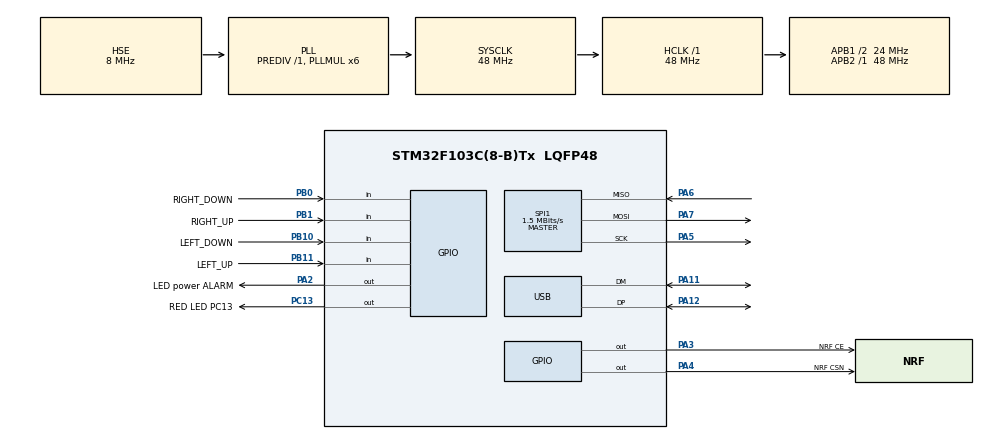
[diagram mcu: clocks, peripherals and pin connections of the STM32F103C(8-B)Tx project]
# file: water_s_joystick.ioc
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Mcu.Family=STM32F1
Mcu.Name=STM32F103C(8-B)Tx
Mcu.Package=LQFP48
NVIC.PriorityGroup=NVIC_PRIORITYGROUP_4
NVIC.USB_LP_CAN1_RX0_IRQn=true\:0\:0\:false\:false\:true\:false
PA11.Mode=Device
PA11.Signal=USB_DM
PA12.Mode=Device
PA12.Signal=USB_DP
PA13.Mode=Serial_Wire
PA13.Signal=SYS_JTMS-SWDIO
PA14.Mode=Serial_Wire
PA14.Signal=SYS_JTCK-SWCLK
PA2.GPIO_Label=LED power ALARM
PA2.Signal=GPIO_Output
PA3.GPIO_Label=NRF CE
PA3.GPIO_Speed=GPIO_SPEED_FREQ_HIGH
PA3.Signal=GPIO_Output
PA4.GPIO_Label=NRF CSN
PA4.GPIO_Speed=GPIO_SPEED_FREQ_HIGH
PA4.Signal=GPIO_Output
PA5.Mode=Full_Duplex_Master
PA5.Signal=SPI1_SCK
PA6.Mode=Full_Duplex_Master
PA6.Signal=SPI1_MISO
PA7.Mode=Full_Duplex_Master
PA7.Signal=SPI1_MOSI
PB0.GPIO_Label=RIGHT_DOWN
PB0.GPIO_PuPd=GPIO_PULLUP
PB0.Signal=GPIO_Input
PB1.GPIO_Label=RIGHT_UP
PB1.GPIO_PuPd=GPIO_PULLUP
PB1.Signal=GPIO_Input
PB10.GPIO_Label=LEFT_DOWN
PB10.GPIO_PuPd=GPIO_PULLUP
PB10.Signal=GPIO_Input
PB11.GPIO_Label=LEFT_UP
PB11.GPIO_PuPd=GPIO_PULLUP
PB11.Signal=GPIO_Input
PC13-TAMPER-RTC.GPIO_Label=RED LED PC13
PC13-TAMPER-RTC.Signal=GPIO_Output
PD0-OSC_IN.Mode=HSE-External-Oscillator
PD0-OSC_IN.Signal=RCC_OSC_IN
PD1-OSC_OUT.Mode=HSE-External-Oscillator
PD1-OSC_OUT.Signal=RCC_OSC_OUT
ProjectManager.HeapSize=0x200
ProjectManager.StackSize=0x400
ProjectManager.TargetToolchain=SW4STM32
RCC.AHBFreq_Value=48000000
RCC.APB1CLKDivider=RCC_HCLK_DIV2
RCC.APB1Freq_Value=24000000
RCC.APB1TimFreq_Value=48000000
RCC.APB2Freq_Value=48000000
RCC.APB2TimFreq_Value=48000000
RCC.HCLKFreq_Value=48000000
RCC.PLLMUL=RCC_PLL_MUL6
RCC.RCC_MCOSource=RCC_MCO1SOURCE_PLLCLK
RCC.SYSCLKFreq_VALUE=48000000
RCC.SYSCLKSource=RCC_SYSCLKSOURCE_PLLCLK
RCC.USBFreq_Value=48000000
SPI1.BaudRatePrescaler=SPI_BAUDRATEPRESCALER_32
SPI1.CalculateBaudRate=1.5 MBits/s
SPI1.Direction=SPI_DIRECTION_2LINES
SPI1.Mode=SPI_MODE_MASTER
SPI1.VirtualType=VM_MASTER
USB_DEVICE.CLASS_NAME_FS=CDC
USB_DEVICE.VirtualMode=Cdc
USB_DEVICE.VirtualModeFS=Cdc_FS
VP_USB_DEVICE_VS_USB_DEVICE_CDC_FS.Mode=CDC_FS
board=water_s_joystick

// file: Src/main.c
/**
  ******************************************************************************
  * @file           : main.c
  * @brief          : Main program body
  ******************************************************************************
  * This notice applies to any and all portions of this file
  * that are not between comment pairs USER CODE BEGIN and
  * USER CODE END. Other portions of this file, whether
  * inserted by the user or by software development tools
  * are owned by their respective copyright owners.
  *
  * Copyright (c) 2019 STMicroelectronics International N.V.
  * All rights reserved.
  *
  * Redistribution and use in source and binary forms, with or without
  * modification, are permitted, provided that the following conditions are met:
  *
  * 1. Redistribution of source code must retain the above copyright notice,
  *    this list of conditions and the following disclaimer.
  * 2. Redistributions in binary form must reproduce the above copyright notice,
  *    this list of conditions and the following disclaimer in the documentation
  *    and/or other materials provided with the distribution.
  * 3. Neither the name of STMicroelectronics nor the names of other
  *    contributors to this software may be used to endorse or promote products
  *    derived from this software without specific written permission.
  * 4. This software, including modifications and/or derivative works of this
  *    software, must execute solely and exclusively on microcontroller or
  *    microprocessor devices manufactured by or for STMicroelectronics.
  * 5. Redistribution and use of this software other than as permitted under
  *    this license is void and will automatically terminate your rights under
  *    this license.
  *
  * THIS SOFTWARE IS PROVIDED BY STMICROELECTRONICS AND CONTRIBUTORS "AS IS"
  * AND ANY EXPRESS, IMPLIED OR STATUTORY WARRANTIES, INCLUDING, BUT NOT
  * LIMITED TO, THE IMPLIED WARRANTIES OF MERCHANTABILITY, FITNESS FOR A
  * PARTICULAR PURPOSE AND NON-INFRINGEMENT OF THIRD PARTY INTELLECTUAL PROPERTY
  * RIGHTS ARE DISCLAIMED TO THE FULLEST EXTENT PERMITTED BY LAW. IN NO EVENT
  * SHALL STMICROELECTRONICS OR CONTRIBUTORS BE LIABLE FOR ANY DIRECT, INDIRECT,
  * INCIDENTAL, SPECIAL, EXEMPLARY, OR CONSEQUENTIAL DAMAGES (INCLUDING, BUT NOT
  * LIMITED TO, PROCUREMENT OF SUBSTITUTE GOODS OR SERVICES; LOSS OF USE, DATA,
  * OR PROFITS; OR BUSINESS INTERRUPTION) HOWEVER CAUSED AND ON ANY THEORY OF
  * LIABILITY, WHETHER IN CONTRACT, STRICT LIABILITY, OR TORT (INCLUDING
  * NEGLIGENCE OR OTHERWISE) ARISING IN ANY WAY OUT OF THE USE OF THIS SOFTWARE,
  * EVEN IF ADVISED OF THE POSSIBILITY OF SUCH DAMAGE.
  *
  ******************************************************************************
  */
#include "main.h"
#include "stm32f1xx_hal.h"
#include "usb_device.h"

/* USER CODE BEGIN Includes */

#include "tm2_stm32_nrf24l01.h"

/* USER CODE END Includes */

SPI_HandleTypeDef hspi1;

/* USER CODE BEGIN PV */
/* Private variables ---------------------------------------------------------*/

NRF24L01_config_TypeDef nrf_tx_cfg;

uint8_t nrf_init_result;

/* USER CODE END PV */

void SystemClock_Config(void);
static void MX_GPIO_Init(void);
static void MX_SPI1_Init(void);

/* USER CODE BEGIN PFP */
/* Private function prototypes -----------------------------------------------*/

void int8_to_bin( int8_t x, int8_t *_buf );
void usb_receive_interrupt( uint8_t );
void usb_receive_bytes( uint8_t* Buf, uint32_t *Len );

/* USER CODE END PFP */

int main(void)
{
  /* USER CODE BEGIN 1 */

	  // for received data
	  //uint8_t dataIn[32];
	  uint8_t loop;
	  uint8_t text_to_show[ 100 ];

	  // NRF transmission status
	  TM_NRF24L01_Transmit_Status_t transmissionStatus;

  /* USER CODE END 1 */

  /* MCU Configuration----------------------------------------------------------*/

  /* Reset of all peripherals, Initializes the Flash interface and the Systick. */
  HAL_Init();

  /* Configure the system clock */
  SystemClock_Config();

  /* Initialize all configured peripherals */
  MX_GPIO_Init();
  MX_SPI1_Init();
  MX_USB_DEVICE_Init();
  /* USER CODE BEGIN 2 */

  uint8_t tmp_char;

  nrf_tx_cfg.CE_pin          = NRF_CE_Pin;
  nrf_tx_cfg.CE_port         = NRF_CE_GPIO_Port;
  nrf_tx_cfg.CSN_pin         = NRF_CSN_Pin;
  nrf_tx_cfg.CSN_port        = NRF_CSN_GPIO_Port;
  nrf_tx_cfg.SPI             = &hspi1;
  nrf_tx_cfg.radio_channel   = 15;
  nrf_tx_cfg.baud_rate       = TM_NRF24L01_DataRate_1M;
  nrf_tx_cfg.payload_len     = 32;
  nrf_tx_cfg.crc_len         = 2;
  nrf_tx_cfg.output_power    = TM_NRF24L01_OutputPower_0dBm;
  nrf_tx_cfg.rx_address[ 0 ] = 0xE7;
  nrf_tx_cfg.rx_address[ 1 ] = 0xE7;
  nrf_tx_cfg.rx_address[ 2 ] = 0xE7;
  nrf_tx_cfg.rx_address[ 3 ] = 0xE7;
  nrf_tx_cfg.rx_address[ 4 ] = 0xE7;
  nrf_tx_cfg.tx_address[ 0 ] = 0x7E;
  nrf_tx_cfg.tx_address[ 1 ] = 0x7E;
  nrf_tx_cfg.tx_address[ 2 ] = 0x7E;
  nrf_tx_cfg.tx_address[ 3 ] = 0x7E;
  nrf_tx_cfg.tx_address[ 4 ] = 0x7E;

  nrf_init_result = tm2_NRF24L01_Init( &nrf_tx_cfg );
  HAL_Delay( 2000 );
  tm2_NRF24L01_Clear_Interrupts( &nrf_tx_cfg );
  HAL_Delay( 100 );

  //turn off power alarm LED
  HAL_GPIO_WritePin( LED_power_ALARM_GPIO_Port, LED_power_ALARM_Pin, GPIO_PIN_SET );

  /* USER CODE END 2 */

  /* Infinite loop */
  /* USER CODE BEGIN WHILE */
  while (1)
  {
	  HAL_Delay( 25 );

	    if( tm2_NRF24L01_DataReady( &nrf_tx_cfg )) {
	    	HAL_GPIO_WritePin( RED_LED_PC13_GPIO_Port, RED_LED_PC13_Pin, GPIO_PIN_RESET );
	    	for( loop = 0; loop < 33; loop++ ) text_to_show[ loop ] = 0;
	    	tm2_NRF24L01_GetData( &nrf_tx_cfg, text_to_show );
	    	CDC_Transmit_FS( text_to_show, strlen( text_to_show ));
	    	HAL_Delay( 10 );
	    }
	    else {
	    	HAL_Delay( 25 );
	    }

	  HAL_GPIO_WritePin( RED_LED_PC13_GPIO_Port, RED_LED_PC13_Pin, GPIO_PIN_SET );
	  tmp_char = 0x01;
	  if( ! HAL_GPIO_ReadPin( RIGHT_UP_GPIO_Port, RIGHT_UP_Pin )) {
		  tmp_char |= 0x04;
		  HAL_GPIO_WritePin( RED_LED_PC13_GPIO_Port, RED_LED_PC13_Pin, GPIO_PIN_RESET );
	  }
	  if( ! HAL_GPIO_ReadPin( RIGHT_DOWN_GPIO_Port, RIGHT_DOWN_Pin )) {
		  tmp_char |= 0x02;
		  HAL_GPIO_WritePin( RED_LED_PC13_GPIO_Port, RED_LED_PC13_Pin, GPIO_PIN_RESET );
	  }
	  if( ! HAL_GPIO_ReadPin( LEFT_UP_GPIO_Port, LEFT_UP_Pin )) {
		  tmp_char |= 0x10;
		  HAL_GPIO_WritePin( RED_LED_PC13_GPIO_Port, RED_LED_PC13_Pin, GPIO_PIN_RESET );
	  }
	  if( ! HAL_GPIO_ReadPin( LEFT_DOWN_GPIO_Port, LEFT_DOWN_Pin )) {
		  tmp_char |= 0x08;
		  HAL_GPIO_WritePin( RED_LED_PC13_GPIO_Port, RED_LED_PC13_Pin, GPIO_PIN_RESET );
	  }
	  //int8_to_bin( tmp_char, text_to_show );
	  //text_to_show[ 8 ] = 13;
	  //text_to_show[ 9 ] = 10;
	  //if( tmp_char != 0 ) ; //CDC_Transmit_FS( text_to_show, 10 );
	  //HAL_Delay( 1 );
	  tm2_NRF24L01_Transmit( &nrf_tx_cfg, &tmp_char );
	  /* Wait for data to be sent */
	  do {
		/* Get transmission status */
		transmissionStatus = tm2_NRF24L01_GetTransmissionStatus( &nrf_tx_cfg );
	  } while( transmissionStatus == TM_NRF24L01_Transmit_Status_Sending );
	  HAL_Delay( 5 );
	  tm2_NRF24L01_PowerUpRx( &nrf_tx_cfg );

	  /* Check transmit status */
//		if (transmissionStatus == TM_NRF24L01_Transmit_Status_Ok) {
//			/* Transmit went OK */
//			text_to_show[ 0 ] = 'O';
//			text_to_show[ 1 ] = 'K';
//		} else if (transmissionStatus == TM_NRF24L01_Transmit_Status_Lost) {
//			/* Message was LOST */
//			text_to_show[ 0 ] = 'n';
//			text_to_show[ 1 ] = 'n';
//		} else {
//			/* This should never happen */
//
//		}
//		text_to_show[ 2 ] = ' ';
//		if( tmp_char != 0 ) CDC_Transmit_FS( text_to_show, 3 );
//		HAL_Delay( 1 );

  /* USER CODE END WHILE */

  }

}

void SystemClock_Config(void)
{

  RCC_OscInitTypeDef RCC_OscInitStruct;
  RCC_ClkInitTypeDef RCC_ClkInitStruct;
  RCC_PeriphCLKInitTypeDef PeriphClkInit;

    /**Initializes the CPU, AHB and APB busses clocks
    */
  RCC_OscInitStruct.OscillatorType = RCC_OSCILLATORTYPE_HSE;
  RCC_OscInitStruct.HSEState = RCC_HSE_ON;
  RCC_OscInitStruct.HSEPredivValue = RCC_HSE_PREDIV_DIV1;
  RCC_OscInitStruct.HSIState = RCC_HSI_ON;
  RCC_OscInitStruct.PLL.PLLState = RCC_PLL_ON;
  RCC_OscInitStruct.PLL.PLLSource = RCC_PLLSOURCE_HSE;
  RCC_OscInitStruct.PLL.PLLMUL = RCC_PLL_MUL6;
  if (HAL_RCC_OscConfig(&RCC_OscInitStruct) != HAL_OK)
  {
    _Error_Handler(__FILE__, __LINE__);
  }

    /**Initializes the CPU, AHB and APB busses clocks
    */
  RCC_ClkInitStruct.ClockType = RCC_CLOCKTYPE_HCLK|RCC_CLOCKTYPE_SYSCLK
                              |RCC_CLOCKTYPE_PCLK1|RCC_CLOCKTYPE_PCLK2;
  RCC_ClkInitStruct.SYSCLKSource = RCC_SYSCLKSOURCE_PLLCLK;
  RCC_ClkInitStruct.AHBCLKDivider = RCC_SYSCLK_DIV1;
  RCC_ClkInitStruct.APB1CLKDivider = RCC_HCLK_DIV2;
  RCC_ClkInitStruct.APB2CLKDivider = RCC_HCLK_DIV1;

  if (HAL_RCC_ClockConfig(&RCC_ClkInitStruct, FLASH_LATENCY_1) != HAL_OK)
  {
    _Error_Handler(__FILE__, __LINE__);
  }

  PeriphClkInit.PeriphClockSelection = RCC_PERIPHCLK_USB;
  PeriphClkInit.UsbClockSelection = RCC_USBCLKSOURCE_PLL;
  if (HAL_RCCEx_PeriphCLKConfig(&PeriphClkInit) != HAL_OK)
  {
    _Error_Handler(__FILE__, __LINE__);
  }

    /**Configure the Systick interrupt time
    */
  HAL_SYSTICK_Config(HAL_RCC_GetHCLKFreq()/1000);

    /**Configure the Systick
    */
  HAL_SYSTICK_CLKSourceConfig(SYSTICK_CLKSOURCE_HCLK);

  /* SysTick_IRQn interrupt configuration */
  HAL_NVIC_SetPriority(SysTick_IRQn, 0, 0);
}

/* SPI1 init function */
static void MX_SPI1_Init(void)
{

  /* SPI1 parameter configuration*/
  hspi1.Instance = SPI1;
  hspi1.Init.Mode = SPI_MODE_MASTER;
  hspi1.Init.Direction = SPI_DIRECTION_2LINES;
  hspi1.Init.DataSize = SPI_DATASIZE_8BIT;
  hspi1.Init.CLKPolarity = SPI_POLARITY_LOW;
  hspi1.Init.CLKPhase = SPI_PHASE_1EDGE;
  hspi1.Init.NSS = SPI_NSS_SOFT;
  hspi1.Init.BaudRatePrescaler = SPI_BAUDRATEPRESCALER_32;
  hspi1.Init.FirstBit = SPI_FIRSTBIT_MSB;
  hspi1.Init.TIMode = SPI_TIMODE_DISABLE;
  hspi1.Init.CRCCalculation = SPI_CRCCALCULATION_DISABLE;
  hspi1.Init.CRCPolynomial = 10;
  if (HAL_SPI_Init(&hspi1) != HAL_OK)
  {
    _Error_Handler(__FILE__, __LINE__);
  }

}

/** Configure pins as
        * Analog
        * Input
        * Output
        * EVENT_OUT
        * EXTI
*/
static void MX_GPIO_Init(void)
{

  GPIO_InitTypeDef GPIO_InitStruct;

  /* GPIO Ports Clock Enable */
  __HAL_RCC_GPIOC_CLK_ENABLE();
  __HAL_RCC_GPIOD_CLK_ENABLE();
  __HAL_RCC_GPIOA_CLK_ENABLE();
  __HAL_RCC_GPIOB_CLK_ENABLE();

  /*Configure GPIO pin Output Level */
  HAL_GPIO_WritePin(RED_LED_PC13_GPIO_Port, RED_LED_PC13_Pin, GPIO_PIN_RESET);

  /*Configure GPIO pin Output Level */
  HAL_GPIO_WritePin(GPIOA, LED_power_ALARM_Pin|NRF_CE_Pin|NRF_CSN_Pin, GPIO_PIN_RESET);

  /*Configure GPIO pin : RED_LED_PC13_Pin */
  GPIO_InitStruct.Pin = RED_LED_PC13_Pin;
  GPIO_InitStruct.Mode = GPIO_MODE_OUTPUT_PP;
  GPIO_InitStruct.Speed = GPIO_SPEED_FREQ_LOW;
  HAL_GPIO_Init(RED_LED_PC13_GPIO_Port, &GPIO_InitStruct);

  /*Configure GPIO pin : LED_power_ALARM_Pin */
  GPIO_InitStruct.Pin = LED_power_ALARM_Pin;
  GPIO_InitStruct.Mode = GPIO_MODE_OUTPUT_PP;
  GPIO_InitStruct.Speed = GPIO_SPEED_FREQ_LOW;
  HAL_GPIO_Init(LED_power_ALARM_GPIO_Port, &GPIO_InitStruct);

  /*Configure GPIO pins : NRF_CE_Pin NRF_CSN_Pin */
  GPIO_InitStruct.Pin = NRF_CE_Pin|NRF_CSN_Pin;
  GPIO_InitStruct.Mode = GPIO_MODE_OUTPUT_PP;
  GPIO_InitStruct.Speed = GPIO_SPEED_FREQ_HIGH;
  HAL_GPIO_Init(GPIOA, &GPIO_InitStruct);

  /*Configure GPIO pins : RIGHT_DOWN_Pin RIGHT_UP_Pin LEFT_DOWN_Pin LEFT_UP_Pin */
  GPIO_InitStruct.Pin = RIGHT_DOWN_Pin|RIGHT_UP_Pin|LEFT_DOWN_Pin|LEFT_UP_Pin;
  GPIO_InitStruct.Mode = GPIO_MODE_INPUT;
  GPIO_InitStruct.Pull = GPIO_PULLUP;
  HAL_GPIO_Init(GPIOB, &GPIO_InitStruct);

}

/* USER CODE BEGIN 4 */

void int8_to_bin( int8_t x, int8_t *_buf ) {
	for( int loop = 0; loop < 8; loop++ ) {
		_buf[ loop ] = x & (0x80 >> loop) ? '1' : '0';
	}
	_buf[ 8 ] = '\n';
	_buf[ 9 ] = '\r';
}

void usb_receive_interrupt( uint8_t received_byte ) {
	uint8_t tmp_char;
	uint8_t text_to_show[ 100 ], config_bytes[ 100 ];

	switch( received_byte ) {
	  case 'x' : int8_to_bin( nrf_init_result, text_to_show );
	             text_to_show[  8 ] = 'x';
	             text_to_show[  9 ] = 13;
	             text_to_show[ 10 ] = 10;
	             CDC_Transmit_FS( text_to_show, 11 );
	             HAL_Delay( 100 );
	             break;
	  case 'z' : tm2_NRF24L01_ReadConfig( &nrf_tx_cfg, config_bytes );
	             for( int i = 0; i < 10; i++ ) { //38
		           int8_to_bin( config_bytes[ i ], text_to_show );
		           CDC_Transmit_FS( text_to_show, 10 );
		           HAL_Delay( 1 );
	             }
	             HAL_Delay( 100 );
	             break;
	  default  :
	             break;
	}
}

void usb_receive_bytes( uint8_t* Buf, uint32_t *Len ) {
	switch (Buf[0]) {
	case 'V':
		HAL_GPIO_WritePin( RED_LED_PC13_GPIO_Port, RED_LED_PC13_Pin, GPIO_PIN_RESET);
		break;
	case 'v':
		HAL_GPIO_WritePin( RED_LED_PC13_GPIO_Port, RED_LED_PC13_Pin, GPIO_PIN_SET);
		break;
	}
}

/* USER CODE END 4 */

void _Error_Handler(char *file, int line)
{
  while(1)
  {
  }
}

/************************ (C) COPYRIGHT STMicroelectronics *****END OF FILE****/
